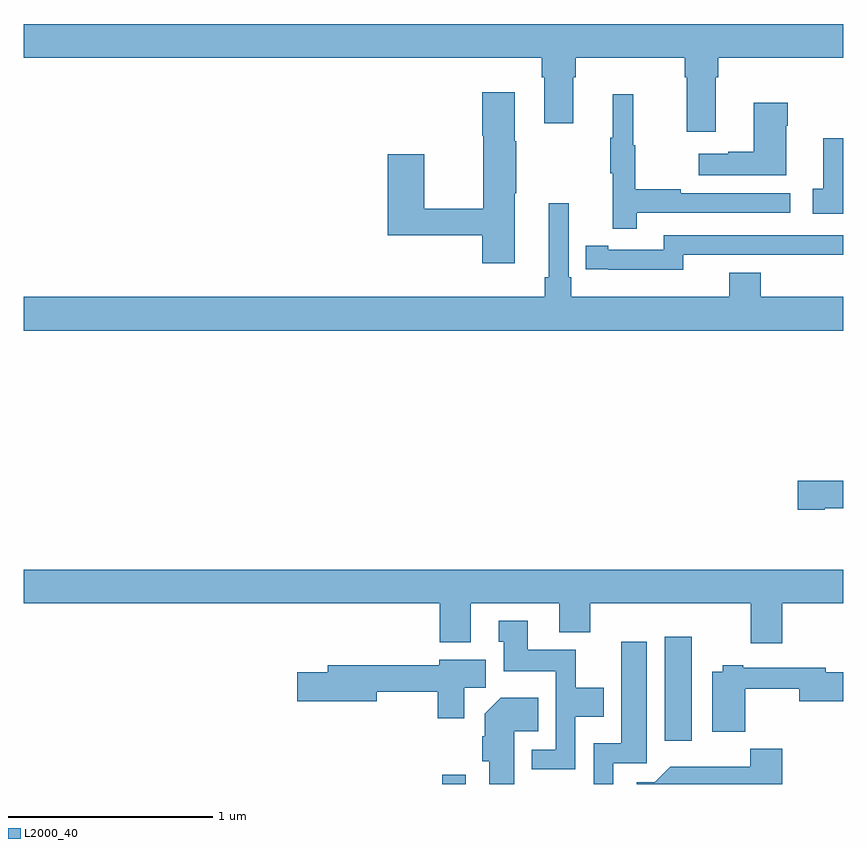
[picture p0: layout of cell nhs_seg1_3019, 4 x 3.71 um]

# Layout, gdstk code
import gdstk
lib = gdstk.Library(unit=1e-6, precision=1e-09)
def R(c, l, rs):  # rectangles x0, y0, x1, y1
    for r in rs: c.add(gdstk.rectangle(r[:2], r[2:], *l))
def P(c, l, *ps):  # polygons
    for p in ps: c.add(gdstk.Polygon(p, *l))
L2000_40 = (2000, 40)

nhs_seg1_3019 = lib.new_cell('nhs_seg1_3019')
R(nhs_seg1_3019, L2000_40, [(277.042,536.199,277.158,536.245), (278.129,536.409,278.26,536.917)])
P(nhs_seg1_3019, L2000_40, [(278.377,539.648),(278.39,539.648),(278.39,539.744),(279,539.744),(279,539.908),(275,539.908),(275,539.744),(277.529,539.744),(277.529,539.648),(277.541,539.648),(277.541,539.424),(277.681,539.424),(277.681,539.648),(277.694,539.648),(277.694,539.744),(278.225,539.744),(278.225,539.648),(278.237,539.648),(278.237,539.382),(278.377,539.382)],
  [(277.396,539.083),(277.404,539.083),(277.404,539.336),(277.396,539.336),(277.396,539.575),(277.238,539.575),(277.238,539.362),(277.243,539.362),(277.243,539.006),(276.954,539.006),(276.954,539.272),(276.776,539.272),(276.776,538.878),(277.238,538.878),(277.238,538.74),(277.396,538.74)],
  [(277.991,538.986),(278.74,538.986),(278.74,539.082),(278.207,539.082),(278.207,539.102),(277.984,539.102),(277.984,539.316),(277.976,539.316),(277.976,539.566),(277.874,539.566),(277.874,539.353),(277.863,539.353),(277.863,539.179),(277.874,539.179),(277.874,538.908),(277.991,538.908)],
  [(278.722,539.411),(278.73,539.411),(278.73,539.524),(278.564,539.524),(278.564,539.285),(278.438,539.285),(278.438,539.275),(278.295,539.275),(278.295,539.171),(278.722,539.171)],
  [(279,539.35),(278.903,539.35),(278.903,539.103),(278.85,539.103),(278.85,538.983),(279,538.983)],
  [(279,538.576),(278.597,538.576),(278.597,538.693),(278.444,538.693),(278.444,538.576),(277.673,538.576),(277.673,538.672),(277.659,538.672),(277.659,539.032),(277.562,539.032),(277.562,538.672),(277.543,538.672),(277.543,538.576),(275,538.576),(275,538.412),(279,538.412)],
  [(278.22,538.782),(278.68,538.782),(278.68,538.781),(279,538.781),(279,538.878),(278.124,538.878),(278.124,538.806),(277.852,538.806),(277.852,538.826),(277.744,538.826),(277.744,538.71),(277.852,538.71),(277.852,538.709),(278.22,538.709)],
  [(278.91,537.545),(279,537.545),(279,537.68),(278.778,537.68),(278.778,537.538),(278.91,537.538)],
  [(278.702,537.08),(279,537.08),(279,537.244),(275,537.244),(275,537.08),(277.031,537.08),(277.031,536.891),(277.183,536.891),(277.183,537.08),(277.613,537.08),(277.613,536.939),(277.766,536.939),(277.766,537.08),(278.549,537.08),(278.549,536.886),(278.702,536.886)],
  [(277.692,536.528),(277.831,536.528),(277.831,536.668),(277.695,536.668),(277.695,536.854),(277.459,536.854),(277.459,536.995),(277.319,536.995),(277.319,536.892),(277.343,536.892),(277.343,536.75),(277.596,536.75),(277.596,536.367),(277.479,536.367),(277.479,536.271),(277.692,536.271)],
  [(277.878,536.301),(278.041,536.301),(278.041,536.893),(277.916,536.893),(277.916,536.398),(277.782,536.398),(277.782,536.199),(277.878,536.199)],
  [(277.15,536.668),(277.255,536.668),(277.255,536.806),(277.028,536.806),(277.028,536.779),(276.485,536.779),(276.485,536.745),(276.336,536.745),(276.336,536.603),(276.724,536.603),(276.724,536.65),(277.021,536.65),(277.021,536.52),(277.15,536.52)],
  [(278.522,536.665),(278.786,536.665),(278.786,536.603),(279,536.603),(279,536.745),(278.914,536.745),(278.914,536.766),(278.512,536.766),(278.512,536.779),(278.412,536.779),(278.412,536.746),(278.36,536.746),(278.36,536.453),(278.522,536.453)],
  [(277.393,536.456),(277.511,536.456),(277.511,536.62),(277.328,536.62),(277.25,536.542),(277.25,536.432),(277.238,536.432),(277.238,536.31),(277.271,536.31),(277.271,536.199),(277.393,536.199)],
  [(278.702,536.371),(278.547,536.371),(278.547,536.284),(278.155,536.284),(278.079,536.208),(277.991,536.208),(277.991,536.199),(278.702,536.199)])

lib.write_gds('nhs_seg1_3019.gds')
